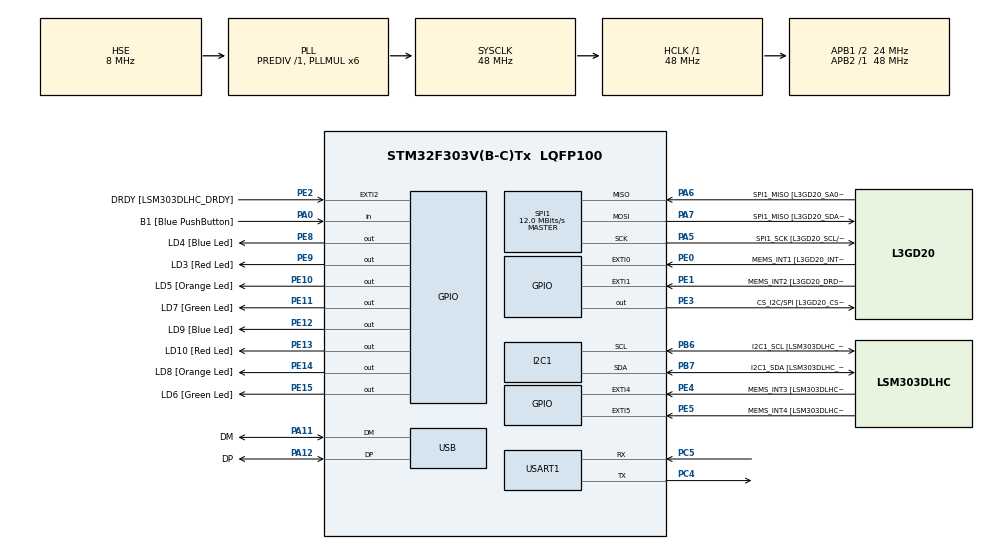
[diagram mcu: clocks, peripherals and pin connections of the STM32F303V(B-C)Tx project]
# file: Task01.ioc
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I2C1.Timing=0x2000090E
I2C1.Timing-I2C=0x2000090E
Mcu.Family=STM32F3
Mcu.Name=STM32F303V(B-C)Tx
Mcu.Package=LQFP100
NVIC.PriorityGroup=NVIC_PRIORITYGROUP_0
NVIC.USB_LP_CAN_RX0_IRQn=true\:0\:0\:false\:false\:true\:false\:true\:true
PA0.GPIO_Label=B1 [Blue PushButton]
PA0.Signal=GPIO_Input
PA11.GPIO_Label=DM
PA11.Mode=Device
PA11.Signal=USB_DM
PA12.GPIO_Label=DP
PA12.Mode=Device
PA12.Signal=USB_DP
PA13.GPIO_Label=SWDIO
PA13.Mode=Serial_Wire
PA13.Signal=SYS_JTMS-SWDIO
PA14.GPIO_Label=SWCLK
PA14.Mode=Serial_Wire
PA14.Signal=SYS_JTCK-SWCLK
PA5.GPIO_Label=SPI1_SCK [L3GD20_SCL/SPC]
PA5.Mode=Full_Duplex_Master
PA5.Signal=SPI1_SCK
PA6.GPIO_Label=SPI1_MISO [L3GD20_SA0/SDO]
PA6.Mode=Full_Duplex_Master
PA6.Signal=SPI1_MISO
PA7.GPIO_Label=SPI1_MISO [L3GD20_SDA/SDI/SDO]
PA7.Mode=Full_Duplex_Master
PA7.Signal=SPI1_MOSI
PB3.GPIO_Label=SWO
PB3.Signal=SYS_JTDO-TRACESWO
PB6.GPIO_Label=I2C1_SCL [LSM303DLHC_SCL]
PB6.GPIO_Pu=GPIO_PULLUP
PB6.Mode=I2C
PB6.Signal=I2C1_SCL
PB7.GPIO_Label=I2C1_SDA [LSM303DLHC_SDA]
PB7.GPIO_Pu=GPIO_PULLUP
PB7.Mode=I2C
PB7.Signal=I2C1_SDA
PC14-OSC32_IN.GPIO_Label=OSC32_IN
PC14-OSC32_IN.Signal=RCC_OSC32_IN
PC15-OSC32_OUT.GPIO_Label=OSC32_OUT
PC15-OSC32_OUT.Signal=RCC_OSC32_OUT
PC4.Mode=Asynchronous
PC4.Signal=USART1_TX
PC5.Mode=Asynchronous
PC5.Signal=USART1_RX
PE0.GPIO_Label=MEMS_INT1 [L3GD20_INT1]
PE0.GPIO_ModeDefaultEXTI=GPIO_MODE_EVT_RISING
PE0.Signal=GPXTI0
PE1.GPIO_Label=MEMS_INT2 [L3GD20_DRDY/INT2]
PE1.GPIO_ModeDefaultEXTI=GPIO_MODE_EVT_RISING
PE1.Signal=GPXTI1
PE10.GPIO_Label=LD5 [Orange Led]
PE10.Signal=GPIO_Output
PE11.GPIO_Label=LD7 [Green Led]
PE11.Signal=GPIO_Output
PE12.GPIO_Label=LD9 [Blue Led]
PE12.Signal=GPIO_Output
PE13.GPIO_Label=LD10 [Red Led]
PE13.Signal=GPIO_Output
PE14.GPIO_Label=LD8 [Orange Led]
PE14.Signal=GPIO_Output
PE15.GPIO_Label=LD6 [Green Led]
PE15.Signal=GPIO_Output
PE2.GPIO_Label=DRDY [LSM303DLHC_DRDY]
PE2.GPIO_ModeDefaultEXTI=GPIO_MODE_EVT_RISING
PE2.Signal=GPXTI2
PE3.GPIO_Label=CS_I2C/SPI [L3GD20_CS_I2C/SPI]
PE3.Signal=GPIO_Output
PE4.GPIO_Label=MEMS_INT3 [LSM303DLHC_INT1]
PE4.GPIO_ModeDefaultEXTI=GPIO_MODE_EVT_RISING
PE4.Signal=GPXTI4
PE5.GPIO_Label=MEMS_INT4 [LSM303DLHC_INT2]
PE5.GPIO_ModeDefaultEXTI=GPIO_MODE_EVT_RISING
PE5.Signal=GPXTI5
PE8.GPIO_Label=LD4 [Blue Led]
PE8.Signal=GPIO_Output
PE9.GPIO_Label=LD3 [Red Led]
PE9.Signal=GPIO_Output
PF0-OSC_IN.GPIO_Label=OSC_IN
PF0-OSC_IN.Mode=HSE-External-Clock-Source
PF0-OSC_IN.Signal=RCC_OSC_IN
PF1-OSC_OUT.GPIO_Label=OSC_OUT
PF1-OSC_OUT.Signal=RCC_OSC_OUT
ProjectManager.HeapSize=0x200
ProjectManager.StackSize=0x400
ProjectManager.TargetToolchain=CMake
RCC.AHBFreq_Value=48000000
RCC.APB1CLKDivider=RCC_HCLK_DIV2
RCC.APB1Freq_Value=24000000
RCC.APB1TimFreq_Value=48000000
RCC.APB2Freq_Value=48000000
RCC.APB2TimFreq_Value=48000000
RCC.CortexFreq_Value=48000000
RCC.HCLKFreq_Value=48000000
RCC.HSE_VALUE=8000000
RCC.HSI_VALUE=8000000
RCC.LSE_VALUE=32768
RCC.PLLMUL=RCC_PLL_MUL6
RCC.SYSCLKFreq_VALUE=48000000
RCC.SYSCLKSourceVirtual=RCC_SYSCLKSOURCE_PLLCLK
RCC.USBFreq_Value=48000000
SPI1.BaudRatePrescaler=SPI_BAUDRATEPRESCALER_4
SPI1.BaudRatePrescaler-Full_Duplex_Master=SPI_BAUDRATEPRESCALER_2
SPI1.CalculateBaudRate=12.0 MBits/s
SPI1.CalculateBaudRate-Full_Duplex_Master=24.0 MBits/s
SPI1.Direction=SPI_DIRECTION_2LINES
SPI1.Mode=SPI_MODE_MASTER
SPI1.Mode-Full_Duplex_Master=SPI_MODE_MASTER
SPI1.VirtualType=VM_MASTER
USART1.VirtualMode-Asynchronous=VM_ASYNC
USB_DEVICE.CLASS_NAME_FS=CDC
USB_DEVICE.VirtualMode=Cdc
USB_DEVICE.VirtualModeFS=Cdc_FS
VP_USB_DEVICE_VS_USB_DEVICE_CDC_FS.Mode=CDC_FS
board=STM32F3DISCOVERY

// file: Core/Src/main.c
/* USER CODE BEGIN Header */
/**
  ******************************************************************************
  * @file           : main.c
  * @brief          : Main program body
  ******************************************************************************
  * @attention
  *
  * Copyright (c) 2025 STMicroelectronics.
  * All rights reserved.
  *
  * This software is licensed under terms that can be found in the LICENSE file
  * in the root directory of this software component.
  * If no LICENSE file comes with this software, it is provided AS-IS.
  *
  ******************************************************************************
  */
/* USER CODE END Header */
#include "main.h"
#include "usb_device.h"

/* USER CODE BEGIN Includes */

#include <stdlib.h>
#include <string.h>
#include <stdio.h>

/* USER CODE END Includes */

/* USER CODE BEGIN PD */

#define ARRAY_SIZE 10  // Adjust as needed, keep it small to avoid heap overflow

/* USER CODE END PD */

I2C_HandleTypeDef hi2c1;

SPI_HandleTypeDef hspi1;

UART_HandleTypeDef huart1;

void SystemClock_Config(void);
static void MX_GPIO_Init(void);
static void MX_I2C1_Init(void);
static void MX_SPI1_Init(void);
static void MX_USART1_UART_Init(void);

/* USER CODE BEGIN 0 */

void print_uart(const char* msg) {
  HAL_UART_Transmit(&huart1, (uint8_t*)msg, strlen(msg), HAL_MAX_DELAY);
}

void print_array(const char* label, int* arr, int n) {
  char buffer[64];
  print_uart(label);
  for (int i = 0; i < n; i++) {
      snprintf(buffer, sizeof(buffer), "%d ", arr[i]);
      print_uart(buffer);
  }
  print_uart("\r\n");
}

/* USER CODE END 0 */

int main(void)
{

  /* MCU Configuration--------------------------------------------------------*/

  /* Reset of all peripherals, Initializes the Flash interface and the Systick. */
  HAL_Init();

  /* Configure the system clock */
  SystemClock_Config();

  /* Initialize all configured peripherals */
  MX_GPIO_Init();
  MX_I2C1_Init();
  MX_SPI1_Init();
  MX_USART1_UART_Init();
  MX_USB_DEVICE_Init();
  /* USER CODE BEGIN 2 */

  print_uart("=== STM32 Dynamic Memory Allocation Lab ===\r\n");

  // 1. Allocate using malloc (uninitialized)
  int* malloc_array = (int*) malloc(ARRAY_SIZE * sizeof(int));
  if (malloc_array == NULL) {
      print_uart("malloc failed!\r\n");
      while (1);
  }

  // 2. Manually initialize malloc_array
  for (int i = 0; i < ARRAY_SIZE; i++) {
      malloc_array[i] = i * 2;
  }

  // 3. Allocate using calloc (zero-initialized)
  int* calloc_array = (int*) calloc(ARRAY_SIZE, sizeof(int));
  if (calloc_array == NULL) {
      print_uart("calloc failed!\r\n");
      while (1);
  }

  // 4. Fill calloc_array after checking zeros
  for (int i = 0; i < ARRAY_SIZE; i++) {
      if (calloc_array[i] != 0) {
          print_uart("calloc not zero-initialized!\r\n");
      }
      calloc_array[i] = i + 1;
  }

  // 5. Print arrays via UART
  print_array("malloc_array: ", malloc_array, ARRAY_SIZE);
  print_array("calloc_array: ", calloc_array, ARRAY_SIZE);

  // 6. Free memory and nullify pointers
  free(malloc_array);
  malloc_array = NULL;

  free(calloc_array);
  calloc_array = NULL;

  print_uart("Memory freed and pointers set to NULL.\r\n");

  /* USER CODE END 2 */

  /* Infinite loop */
  while (1)
  {

  }
}

void SystemClock_Config(void)
{
  RCC_OscInitTypeDef RCC_OscInitStruct = {0};
  RCC_ClkInitTypeDef RCC_ClkInitStruct = {0};
  RCC_PeriphCLKInitTypeDef PeriphClkInit = {0};

  /** Initializes the RCC Oscillators according to the specified parameters
  * in the RCC_OscInitTypeDef structure.
  */
  RCC_OscInitStruct.OscillatorType = RCC_OSCILLATORTYPE_HSI|RCC_OSCILLATORTYPE_HSE;
  RCC_OscInitStruct.HSEState = RCC_HSE_BYPASS;
  RCC_OscInitStruct.HSEPredivValue = RCC_HSE_PREDIV_DIV1;
  RCC_OscInitStruct.HSIState = RCC_HSI_ON;
  RCC_OscInitStruct.HSICalibrationValue = RCC_HSICALIBRATION_DEFAULT;
  RCC_OscInitStruct.PLL.PLLState = RCC_PLL_ON;
  RCC_OscInitStruct.PLL.PLLSource = RCC_PLLSOURCE_HSE;
  RCC_OscInitStruct.PLL.PLLMUL = RCC_PLL_MUL6;
  if (HAL_RCC_OscConfig(&RCC_OscInitStruct) != HAL_OK)
  {
    Error_Handler();
  }

  /** Initializes the CPU, AHB and APB buses clocks
  */
  RCC_ClkInitStruct.ClockType = RCC_CLOCKTYPE_HCLK|RCC_CLOCKTYPE_SYSCLK
                              |RCC_CLOCKTYPE_PCLK1|RCC_CLOCKTYPE_PCLK2;
  RCC_ClkInitStruct.SYSCLKSource = RCC_SYSCLKSOURCE_PLLCLK;
  RCC_ClkInitStruct.AHBCLKDivider = RCC_SYSCLK_DIV1;
  RCC_ClkInitStruct.APB1CLKDivider = RCC_HCLK_DIV2;
  RCC_ClkInitStruct.APB2CLKDivider = RCC_HCLK_DIV1;

  if (HAL_RCC_ClockConfig(&RCC_ClkInitStruct, FLASH_LATENCY_1) != HAL_OK)
  {
    Error_Handler();
  }
  PeriphClkInit.PeriphClockSelection = RCC_PERIPHCLK_USB|RCC_PERIPHCLK_USART1
                              |RCC_PERIPHCLK_I2C1;
  PeriphClkInit.Usart1ClockSelection = RCC_USART1CLKSOURCE_PCLK2;
  PeriphClkInit.I2c1ClockSelection = RCC_I2C1CLKSOURCE_HSI;
  PeriphClkInit.USBClockSelection = RCC_USBCLKSOURCE_PLL;
  if (HAL_RCCEx_PeriphCLKConfig(&PeriphClkInit) != HAL_OK)
  {
    Error_Handler();
  }
}

static void MX_I2C1_Init(void)
{

  hi2c1.Instance = I2C1;
  hi2c1.Init.Timing = 0x2000090E;
  hi2c1.Init.OwnAddress1 = 0;
  hi2c1.Init.AddressingMode = I2C_ADDRESSINGMODE_7BIT;
  hi2c1.Init.DualAddressMode = I2C_DUALADDRESS_DISABLE;
  hi2c1.Init.OwnAddress2 = 0;
  hi2c1.Init.OwnAddress2Masks = I2C_OA2_NOMASK;
  hi2c1.Init.GeneralCallMode = I2C_GENERALCALL_DISABLE;
  hi2c1.Init.NoStretchMode = I2C_NOSTRETCH_DISABLE;
  if (HAL_I2C_Init(&hi2c1) != HAL_OK)
  {
    Error_Handler();
  }

  /** Configure Analogue filter
  */
  if (HAL_I2CEx_ConfigAnalogFilter(&hi2c1, I2C_ANALOGFILTER_ENABLE) != HAL_OK)
  {
    Error_Handler();
  }

  /** Configure Digital filter
  */
  if (HAL_I2CEx_ConfigDigitalFilter(&hi2c1, 0) != HAL_OK)
  {
    Error_Handler();
  }

}

static void MX_SPI1_Init(void)
{

  /* SPI1 parameter configuration*/
  hspi1.Instance = SPI1;
  hspi1.Init.Mode = SPI_MODE_MASTER;
  hspi1.Init.Direction = SPI_DIRECTION_2LINES;
  hspi1.Init.DataSize = SPI_DATASIZE_4BIT;
  hspi1.Init.CLKPolarity = SPI_POLARITY_LOW;
  hspi1.Init.CLKPhase = SPI_PHASE_1EDGE;
  hspi1.Init.NSS = SPI_NSS_SOFT;
  hspi1.Init.BaudRatePrescaler = SPI_BAUDRATEPRESCALER_4;
  hspi1.Init.FirstBit = SPI_FIRSTBIT_MSB;
  hspi1.Init.TIMode = SPI_TIMODE_DISABLE;
  hspi1.Init.CRCCalculation = SPI_CRCCALCULATION_DISABLE;
  hspi1.Init.CRCPolynomial = 7;
  hspi1.Init.CRCLength = SPI_CRC_LENGTH_DATASIZE;
  hspi1.Init.NSSPMode = SPI_NSS_PULSE_ENABLE;
  if (HAL_SPI_Init(&hspi1) != HAL_OK)
  {
    Error_Handler();
  }

}

static void MX_USART1_UART_Init(void)
{

  huart1.Instance = USART1;
  huart1.Init.BaudRate = 38400;
  huart1.Init.WordLength = UART_WORDLENGTH_8B;
  huart1.Init.StopBits = UART_STOPBITS_1;
  huart1.Init.Parity = UART_PARITY_NONE;
  huart1.Init.Mode = UART_MODE_TX_RX;
  huart1.Init.HwFlowCtl = UART_HWCONTROL_NONE;
  huart1.Init.OverSampling = UART_OVERSAMPLING_16;
  huart1.Init.OneBitSampling = UART_ONE_BIT_SAMPLE_DISABLE;
  huart1.AdvancedInit.AdvFeatureInit = UART_ADVFEATURE_NO_INIT;
  if (HAL_UART_Init(&huart1) != HAL_OK)
  {
    Error_Handler();
  }

}

static void MX_GPIO_Init(void)
{
  GPIO_InitTypeDef GPIO_InitStruct = {0};

  /* GPIO Ports Clock Enable */
  __HAL_RCC_GPIOE_CLK_ENABLE();
  __HAL_RCC_GPIOC_CLK_ENABLE();
  __HAL_RCC_GPIOF_CLK_ENABLE();
  __HAL_RCC_GPIOA_CLK_ENABLE();
  __HAL_RCC_GPIOB_CLK_ENABLE();

  /*Configure GPIO pin Output Level */
  HAL_GPIO_WritePin(GPIOE, CS_I2C_SPI_Pin|LD4_Pin|LD3_Pin|LD5_Pin
                          |LD7_Pin|LD9_Pin|LD10_Pin|LD8_Pin
                          |LD6_Pin, GPIO_PIN_RESET);

  /*Configure GPIO pins : DRDY_Pin MEMS_INT3_Pin MEMS_INT4_Pin MEMS_INT1_Pin
                           MEMS_INT2_Pin */
  GPIO_InitStruct.Pin = DRDY_Pin|MEMS_INT3_Pin|MEMS_INT4_Pin|MEMS_INT1_Pin
                          |MEMS_INT2_Pin;
  GPIO_InitStruct.Mode = GPIO_MODE_EVT_RISING;
  GPIO_InitStruct.Pull = GPIO_NOPULL;
  HAL_GPIO_Init(GPIOE, &GPIO_InitStruct);

  /*Configure GPIO pins : CS_I2C_SPI_Pin LD4_Pin LD3_Pin LD5_Pin
                           LD7_Pin LD9_Pin LD10_Pin LD8_Pin
                           LD6_Pin */
  GPIO_InitStruct.Pin = CS_I2C_SPI_Pin|LD4_Pin|LD3_Pin|LD5_Pin
                          |LD7_Pin|LD9_Pin|LD10_Pin|LD8_Pin
                          |LD6_Pin;
  GPIO_InitStruct.Mode = GPIO_MODE_OUTPUT_PP;
  GPIO_InitStruct.Pull = GPIO_NOPULL;
  GPIO_InitStruct.Speed = GPIO_SPEED_FREQ_LOW;
  HAL_GPIO_Init(GPIOE, &GPIO_InitStruct);

  /*Configure GPIO pin : B1_Pin */
  GPIO_InitStruct.Pin = B1_Pin;
  GPIO_InitStruct.Mode = GPIO_MODE_INPUT;
  GPIO_InitStruct.Pull = GPIO_NOPULL;
  HAL_GPIO_Init(B1_GPIO_Port, &GPIO_InitStruct);

}

void Error_Handler(void)
{
  __disable_irq();
  while (1)
  {
  }
}
